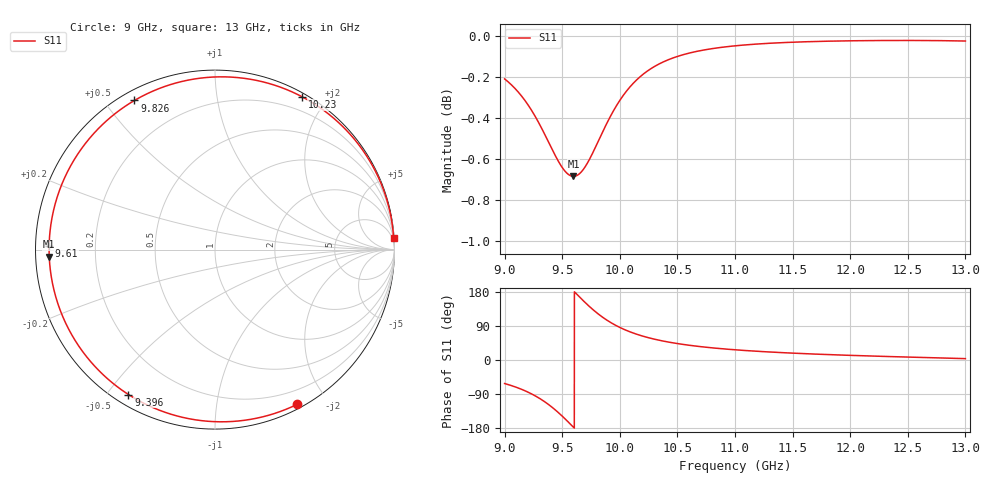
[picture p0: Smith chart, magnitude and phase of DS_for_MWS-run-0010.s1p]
! TOUCHSTONE file generated by CST DESIGN STUDIO
! Date and time: Tue Feb  4 12:48:03 2025
! Project name: C:\Work\MatlabApps\UnitCellOptimizationMatlab\CST\unitcell.cst
! Tree item: Tasks\Sweep1\SPara1\S-Parameters
! Header version: 2024
! Port assignment regex: !\s*Touchstone port\s*([0-9]+)\s*=\s*(CST MWS port|CST DES external port|CST DES block port)\s*(.+)\s* \(\"(.*)\"\)(\s*mode\s*([0-9]+))?.*
! Touchstone port assignment:
! Touchstone port 1 = CST DES external port 1 ("")
# GHz S MA R 50
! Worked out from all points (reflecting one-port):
!   4001 points, 9 GHz to 13 GHz, reference 50 ohm
!   lowest |S11| = -0.7 dB at 9.598 GHz (marker M1), VSWR 25.43, Z = 1.97 - j1.06 ohm
!   phase of S11 starts at -62 deg and turns -294 deg over the sweep
!   S11 on the Smith chart (normalised r, x): 9 GHz: 0.05, -1.66; 9.396 GHz: 0.04, -0.57; 9.61 GHz: 0.04, +0.01; 9.826 GHz: 0.04, +0.60; 10.23 GHz: 0.04, +1.72; 13 GHz: 1, +32
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9  0.9761 -62.1
9.051  0.9734 -66.8
9.122  0.9687 -74.3
9.244  0.9581 -91.0
9.325  0.9491 -105.5
9.396  0.9404 -120.8
9.448  0.9342 -133.8
9.5  0.9289 -148.1
9.551  0.9255 -163.1
9.598  0.9243 -177.6
9.61  0.9244 178.7
9.665  0.9266 161.8
9.726  0.932 144.0
9.776  0.9379 130.6
9.826  0.9444 118.4
9.865  0.9494 109.8
9.906  0.9544 101.7
10  0.9645 86.0
10.11  0.9733 71.9
10.232  0.9801 60.2
10.356  0.9848 51.2
10.5  0.9885 43.3
10.72  0.9919 34.6
11  0.9944 26.9
11.5  0.9964 18.1
12  0.9972 12.2
12.5  0.9974 7.7
13  0.9971 3.6
